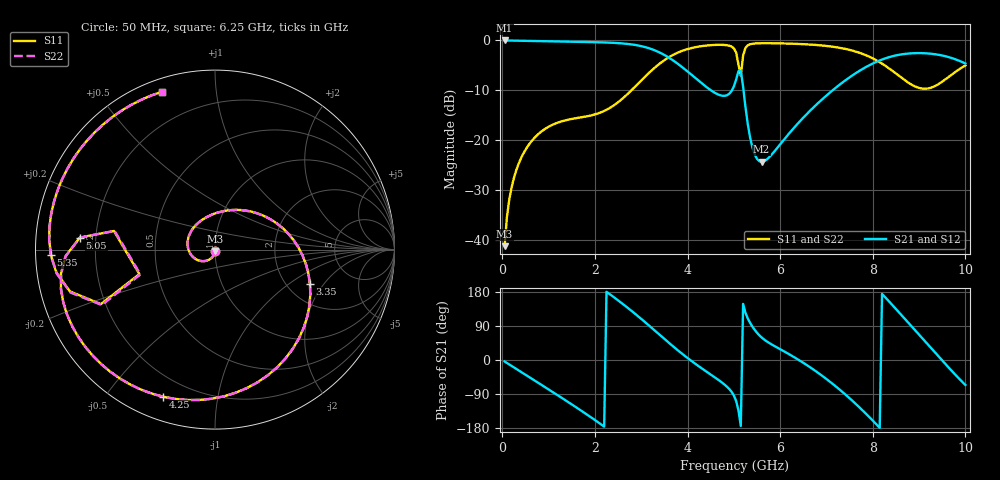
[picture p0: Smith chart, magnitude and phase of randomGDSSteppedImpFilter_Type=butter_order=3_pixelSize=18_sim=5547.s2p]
! freq	dB(S11)	phase(S11)	dB(S12)	phase(S12)
!  dB(S21)	phase(S21)	dB(S22)	phase(S22)
!S-par simulation data
#  GHz  S  DB  R 50
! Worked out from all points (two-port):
!   200 points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, 50 MHz to 10 GHz, reference 50 ohm
!   highest |S21| = -0.01 dB at 50 MHz (marker M1); lowest = -24.3 dB at 5.6 GHz (marker M2)
!   |S21| within 3 dB of the highest: start of sweep to 3.518 GHz; 8.495 GHz to 9.496 GHz (1.001 GHz wide, 11.1 % of centre)
!   lowest |S11| = -41.1 dB at 50 MHz (marker M3), VSWR 1.02, Z = 50 - j0.876 ohm
!   |S11| at or under -10 dB: start of sweep to 2.786 GHz
!   |S22| runs from -41.1 to -0.6 dB; largest |S21 - S12| = 0
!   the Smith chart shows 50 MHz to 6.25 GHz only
!   S11 on the Smith chart (normalised r, x): 50 MHz: 1.00, -0.02; 3.35 GHz: 2.64, -1.48; 4.25 GHz: 0.11, -0.70; 5.05 GHz: 0.14, +0.04; 5.35 GHz: 0.04, -0.02; 6.25 GHz: 0.06, +0.72
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0.05  -41.14 -90.4  -0.01 -4.0  -0.01 -4.0  -41.14 -90.4
0.2  -29.41 -104.7  -0.03 -15.6  -0.03 -15.6  -29.42 -104.7
0.5  -21.89 -128.9  -0.09 -38.8  -0.09 -38.8  -21.89 -129.0
1.15  -16.61 -179.8  -0.21 -89.4  -0.21 -89.4  -16.61 179.9
1.75  -15.31 132.0  -0.31 -137.5  -0.31 -137.5  -15.31 131.6
2.5  -12.37 66.5  -0.54 157.4  -0.54 157.4  -12.37 66.2
2.95  -8.48 22.4  -1.04 113.7  -1.04 113.7  -8.49 22.3
3.35  -5.00 -19.9  -2.21 71.6  -2.21 71.6  -5.00 -19.8
3.4  -4.63 -25.2  -2.43 66.3  -2.43 66.3  -4.63 -25.2
4.25  -1.22 -109.3  -8.14 -17.2  -8.14 -17.2  -1.22 -109.2
5.05  -2.43 174.9  -7.82 -108.2  -7.82 -108.2  -2.45 174.9
5.15  -7.07 -162.1  -6.03 -174.0  -6.03 -174.0  -7.17 -161.6
5.35  -0.77 -178.1  -19.38 98.1  -19.38 98.1  -0.78 -177.7
5.6  -0.56 159.1  -24.28 59.4  -24.28 59.4  -0.56 159.3
6.25  -0.65 108.5  -17.99 11.3  -17.99 11.3  -0.66 108.7
6.7  -0.86 70.8  -13.57 -23.6  -13.57 -23.6  -0.86 70.8
7.45  -1.79 -3.0  -7.70 -95.5  -7.70 -95.5  -1.79 -3.3
7.9  -3.15 -54.5  -5.09 -147.5  -5.09 -147.5  -3.16 -55.1
8.35  -5.58 -110.7  -3.35 154.8  -3.35 154.8  -5.59 -111.6
8.85  -8.90 -177.0  -2.57 87.1  -2.57 87.1  -8.89 -177.8
9.35  -9.10 112.2  -2.77 19.0  -2.77 19.0  -9.06 112.4
10  -5.00 26.7  -4.61 -65.9  -4.61 -65.9  -4.98 27.5
